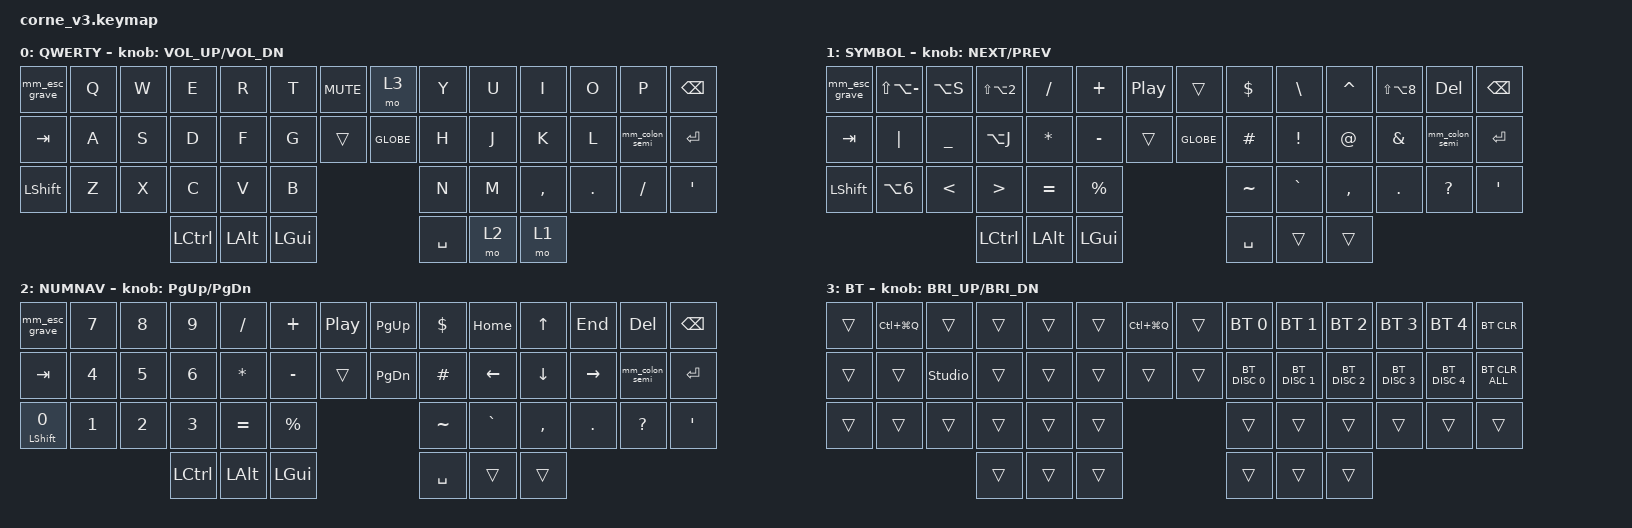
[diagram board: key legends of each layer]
/*
 * Copyright (c) 2020 The ZMK Contributors
 *
 * SPDX-License-Identifier: MIT
 *
 * corne_v3 -- transcribed from
 *   kb-corne/layouts/corne/corne_own_v06_v2.json
 *
 * What changed from corne_v2 (= corne_own_v05.json):
 *
 *   - SYM moved to the right thumb's outer key (pos 45), where `/` used to be.
 *     NNAV stays on pos 44. That frees the old SYM slot (pos 39) for a real key.
 *   - The bottom-right two keys become the standard US pairs: pos 38 `/` (shift
 *     `?`) and pos 39 `'` (shift `"`).
 *   - SYMBOL is substantially re-laid-out: an em dash takes pos 1, `\` moves to
 *     pos 9, DEL appears on pos 12, and @ ! & # $ move to the home row.
 *   - NUMNAV's left Shift becomes tap-0 / hold-Shift, and = % ~ ` fill the row.
 *   - The BSPC+SPACE lock combo is gone; LOCK is now a key (BT layer pos 1, and
 *     the knob press on BT).
 *   - Bracket combos now run on NUMNAV too; [ ] are suppressed on SYMBOL.
 *
 * THE TWO INNER COLUMNS (positions 6/20 on the left, 7/21 on the right).
 *
 *   The RIGHT column is exactly what v06_v2 draws:
 *       base    pos 7 BT (&mo 3)        pos 21 FN (Globe)
 *       SYMBOL  pos 7 transparent      pos 21 FN (Globe)
 *       NUMNAV  pos 7 PgUp             pos 21 PgDn
 *   Moving BT access to the base layer is what freed SYMBOL pos 7; that slot is
 *   simply transparent, so the base layer's BT (&mo 3) shows through and the
 *   bluetooth layer stays reachable from SYMBOL.
 *   Moving PgUp/PgDn onto the inner column is what frees NUMNAV pos 8/22 for
 *   $ and #.
 *
 *   The LEFT column is the media stack, and is the one place this keymap departs
 *   from v06_v2 -- the drawing puts ENC on pos 6 and `-` on pos 20 of every
 *   layer. Pos 6 IS the knob (see below), so its row is the knob's press:
 *       base    pos 6 Mute             pos 20 (empty)
 *       SYMBOL  pos 6 Play/Pause       pos 20 (empty)
 *       NUMNAV  pos 6 Play/Pause       pos 20 (empty)
 *       BT      pos 6 Lock             pos 20 (empty)
 *   Pos 20, the key under the knob, is deliberately empty on every layer for
 *   now (&trans all the way down, which on base means nothing at all).
 *   Note this leaves the base layer with no `-` key (v06_v2 wants one on pos 20);
 *   `-` lives on SYMBOL pos 19.
 *
 * ROTARY ENCODER: one knob, left_ex1, in the pos-6 footprint of the left half.
 *
 *                 press          turn right   turn left
 *       base      Mute           Vol+         Vol-
 *       SYMBOL    Play/Pause     Next         Prev
 *       NUMNAV    Play/Pause     PgUp         PgDn
 *       BT        Lock           Bri+         Bri-
 *
 *   Press: the knob's push switch takes pos 6's place in the matrix, so the press
 *   is pos 6's binding on the active layer.
 *
 *   Turn: each layer's sensor-bindings has ONE entry, because corne_v3_left.dts
 *   and corne_v3_right.dts cut the sensor list down to <&left_ex1_encoder>.
 *   `&inc_dec_kp A B` sends A on a right turn and B on a left turn. (ZMK calls
 *   A "clockwise"; the v3 board file swaps the knob's A/B pins so that ZMK's
 *   clockwise is a right turn -- an inference from Keebart's stock keymap, not
 *   yet tested on the knob. If it runs backwards, fix it there, once, rather
 *   than swapping every pair here.)
 *
 *   The knob is on the PERIPHERAL half (the right half is central on this board).
 *   ZMK v0.3 forwards peripheral encoder events over the split link, so that
 *   works, but the binding is resolved in the RIGHT half's firmware.
 *
 * Legend convention in the KLE: the upper glyph is the SHIFTED one, the lower is
 * unshifted. `:` over `;` on pos 26 is deliberately the inverse of a US board.
 *
 * Key positions (46). Positions 6/7 and 20/21 are the two inner columns that
 * only exist on the top two rows.
 *
 *    0  1  2  3  4  5  6      7  8  9 10 11 12 13
 *   14 15 16 17 18 19 20     21 22 23 24 25 26 27
 *   28 29 30 31 32 33           34 35 36 37 38 39
 *            40 41 42           43 44 45
 */

#include <behaviors.dtsi>
#include <dt-bindings/zmk/bt.h>
#include <dt-bindings/zmk/keys.h>

/ {
    chosen { zmk,physical-layout = &default_layout; };
};

/ {
    behaviors {
        // The KLE draws ";" above ":" on pos 26, the inverse of a US board, so
        // the unshifted tap is ":" and Shift gives ";".
        mm_colon_semi: mm_colon_semi {      // tap : , Shift ;
            compatible = "zmk,behavior-mod-morph";
            #binding-cells = <0>;
            bindings = <&kp COLON>, <&kp SEMI>;
            mods = <(MOD_LSFT|MOD_RSFT)>;
        };

        // ESC key: tap = Esc, Cmd+Esc -> Cmd+`  (mac window/tab cycling).
        // keep-mods keeps Cmd applied to the morphed `.
        mm_esc_grave: mm_esc_grave {
            compatible = "zmk,behavior-mod-morph";
            #binding-cells = <0>;
            bindings = <&kp ESC>, <&kp GRAVE>;
            mods = <(MOD_LGUI|MOD_RGUI)>;
            keep-mods = <(MOD_LGUI|MOD_RGUI)>;
        };

        // NUMNAV pos 28: tap = 0, hold = Shift. Not &mt, whose hold-preferred
        // flavor turns the key into Shift the moment any other key goes down --
        // on a number layer that makes "0" after a fast digit almost unreachable.
        //
        // "balanced" only commits to the hold if the other key is pressed AND
        // RELEASED while this one is still down. A roll (press 0, press 5,
        // release 0) therefore types 05, while a real Shift chord -- hold, tap
        // the arrow, release -- still resolves to Shift, so Shift+arrow
        // selection is unaffected.
        //
        // require-prior-idle-ms is the second guard: if any key was pressed
        // within 150ms before this one, it resolves to the tap immediately and
        // never waits. Mid-typing it is always 0; Shift needs the small pause
        // you take anyway before reaching for a chord. Same 150ms the bracket
        // combos use.
        ht_shift_0: ht_shift_0 {            // tap 0, hold Shift
            compatible = "zmk,behavior-hold-tap";
            #binding-cells = <2>;
            bindings = <&kp>, <&kp>;
            flavor = "balanced";
            tapping-term-ms = <200>;
            quick-tap-ms = <175>;
            require-prior-idle-ms = <150>;
        };
    };

    macros {
        // ë has no single Option chord, but it does NOT need Unicode Hex Input:
        // the U.S. layout has a DEAD KEY for the diaeresis at opt+u, which emits
        // nothing on its own and combines with the next vowel. So opt+u then e
        // gives ë on the plain U.S. layout. This is a normal two-keystroke macro,
        // not the hex-input macro that used to live here -- do not delete it on
        // the assumption that it is.
        //
        // Held Shift passes through the combo into the macro, so Shift gives Ë.
        // The 30ms spacing is to let the host settle the dead-key state between
        // the two taps; raise it if ë ever comes out as a bare "e".
        uml_e: uml_e {                      // opt+u (diaeresis dead key) then e
            compatible = "zmk,behavior-macro";
            #binding-cells = <0>;
            bindings = <&macro_tap &kp LA(U) &kp E>;
            wait-ms = <30>;
            tap-ms = <30>;
            label = "UML_E";
        };
    };

    combos {
        compatible = "zmk,combos";

        /*
         * BRACKETS -- left hand opens, right hand closes, one row per pair:
         *
         *     E+R  {        }  U+I        top row
         *     D+F  (        )  J+K        home row
         *     C+V  [        ]  M+,        bottom row
         *
         * These sit on middle+index pairs, which are the easiest rolls on the
         * board, so a 50ms window is not enough on its own -- "er" and "m," are
         * ordinary English sequences. require-prior-idle-ms is what makes them
         * safe: the combo is ignored if any non-modifier key was pressed within
         * 150ms before it, so a mid-word roll is blocked while a deliberate
         * bracket, reached after the small pause you take anyway, is not.
         *
         * Both conditions must hold -- 150ms of quiet BEFORE it and both keys
         * inside 50ms -- so fast typing fails the first, slow typing the second.
         *
         * All of them now run on NUMNAV as well as base and SYMBOL, except [ and
         * ], which are off on SYMBOL: positions 31/32 and 35/36 carry > = and ` ,
         * there, and bracketing those would fight the layer's own punctuation.
         *
         * NOTE the two NUMNAV adjacencies this creates: U+I is HOME+UP and J+K is
         * LEFT+DOWN. Continuous arrowing is protected by the idle guard, but a
         * deliberate pause followed by a fast two-arrow roll can still emit } or ).
         */
        combo_lbrc {
            timeout-ms = <50>;
            require-prior-idle-ms = <150>;
            key-positions = <4 3>;
            bindings = <&kp LBRC>;
            layers = <0 1 2>;
        };  // E+R -> {
        combo_rbrc {
            timeout-ms = <50>;
            require-prior-idle-ms = <150>;
            key-positions = <9 10>;
            bindings = <&kp RBRC>;
            layers = <0 1 2>;
        };  // U+I -> }
        combo_lpar {
            timeout-ms = <50>;
            require-prior-idle-ms = <150>;
            key-positions = <18 17>;
            bindings = <&kp LPAR>;
            layers = <0 1 2>;
        };  // D+F -> (
        combo_rpar {
            timeout-ms = <50>;
            require-prior-idle-ms = <150>;
            key-positions = <23 24>;
            bindings = <&kp RPAR>;
            layers = <0 1 2>;
        };  // J+K -> )
        combo_lbkt {
            timeout-ms = <50>;
            require-prior-idle-ms = <150>;
            key-positions = <32 31>;
            bindings = <&kp LBKT>;
            layers = <0 2>;
        };  // C+V -> [   (not on SYMBOL)
        combo_rbkt {
            timeout-ms = <50>;
            require-prior-idle-ms = <150>;
            key-positions = <35 36>;
            bindings = <&kp RBKT>;
            layers = <0 2>;
        };  // M+, -> ]   (not on SYMBOL)

        // T+G -> +-. On SYMBOL and NUMNAV positions 5 and 19 are + and -, so it
        // reads as "press + and - together". This is now the ONLY way to type +-,
        // since v06_v2 drops it as a key. Deliberately NO idle guard: T and G are
        // both the left index finger, so it cannot be rolled by accident, and
        // guarding it would only obstruct a deliberate +- typed after a digit.
        plusminus {
            timeout-ms = <50>;
            key-positions = <5 19>;
            bindings = <&kp LS(LA(EQUAL))>;
            layers = <0 1 2>;
        };  // T+G -> +-

        /*
         * ACCENTS -- one column left of the brackets, on the ring+middle pair,
         * and each combo contains its own base letter:
         *
         *     W+E  ë        S+D  ß        X+C  ç
         *
         * layers = <0> ONLY. These positions are 8/9, 5/6 and 2/3 on NUMNAV and
         * ß/€, _/∆ and </> on SYMBOL, where an accent would be nonsense.
         *
         * ç and ß are plain Option chords (opt+c, opt+s), so Shift gives Ç and
         * the opt+shift form respectively. ë goes through the &uml_e dead-key
         * macro. ß stays on its own SYMBOL key (pos 2) as well -- this is an
         * addition, not a move.
         *
         * Same 150ms idle guard as the brackets, and it matters most here: "we"
         * is a common bigram (in Dutch too) and "xc" shows up in except/exceed.
         * The guard blocks them mid-word. "xc" and "sd" never START a word, so
         * for those the guard is total cover -- after a pause the next keys are
         * word-initial, and no word begins "xc".
         *
         * "we" does, which is the one gap: a word-initial "we" typed fast after
         * a genuine pause (starting a sentence with "We") passes the idle guard,
         * because pause-then-roll is exactly the gesture a combo detects. So
         * combo_ediaer alone runs a tighter 30ms window: a deliberate chord on
         * the ring+middle pair (the least independent fingers, so the easiest to
         * press together) lands well inside 30ms, while a rolled "we" usually
         * does not. This narrows the overlap rather than removing it -- the two
         * gestures are not perfectly separable in time. If ë starts missing,
         * raise it to 35-40; if "We" still misfires, drop to 25.
         *
         * Note a tighter window costs nothing in latency: ZMK abandons the combo
         * sooner, so W and E are actually emitted marginally faster.
         */
        combo_ediaer {
            timeout-ms = <30>;      // tighter than the rest -- see above
            require-prior-idle-ms = <150>;
            key-positions = <2 3>;
            bindings = <&uml_e>;
            layers = <0>;
        };  // W+E -> ë
        combo_szlig {
            timeout-ms = <50>;
            require-prior-idle-ms = <150>;
            key-positions = <16 17>;
            bindings = <&kp LA(S)>;
            layers = <0>;
        };  // S+D -> ß
        combo_ccedil {
            timeout-ms = <50>;
            require-prior-idle-ms = <150>;
            key-positions = <30 31>;
            bindings = <&kp LA(C)>;
            layers = <0>;
        };  // X+C -> ç

        // The BSPC+SPACE lock combo from corne_v2 is deliberately gone -- LOCK is
        // a key now, on the BT layer (pos 1 and the knob press).
    };

    keymap {
        compatible = "zmk,keymap";

        // ------------------------------------------------------------------------------------------
        // | ESC | Q | W | E | R | T | MUTE | BT   | Y | U | I | O |  P  | BSPC |
        // | TAB | A | S | D | F | G |  --  | FN   | H | J | K | L | ;/: | RET  |
        // | SHFT| Z | X | C | V | B |             | N | M | ,/< | ./> | //? | '/" |
        //                 | CTRL | ALT | CMD |   | SPACE | NNAV | SYM |
        // SYM is now the outer right thumb (pos 45); NNAV stays on 44.
        // BT (pos 7) is the bluetooth layer's entrance, moved here from SYMBOL.
        default_layer {
            display-name = "QWERTY";
            bindings = <
&mm_esc_grave &kp Q &kp W &kp E     &kp R    &kp T    &kp C_MUTE &mo 3     &kp Y     &kp U &kp I     &kp O   &kp P          &kp BSPC
&kp TAB       &kp A &kp S &kp D     &kp F    &kp G    &trans     &kp GLOBE &kp H     &kp J &kp K     &kp L   &mm_colon_semi &kp RET
&kp LSHFT     &kp Z &kp X &kp C     &kp V    &kp B                         &kp N     &kp M &kp COMMA &kp DOT &kp FSLH       &kp SQT
                          &kp LCTRL &kp LALT &kp LGUI                      &kp SPACE &mo 2 &mo 1
            >;

            // knob (left_ex1): press = pos 6 Mute, turn right = Vol+, turn left = Vol-
            sensor-bindings = <&inc_dec_kp C_VOL_UP C_VOL_DN>;
        };

        // ------------------------------------------------------------------------------------------
        // | ESC |  —   | ß | € | / | + | PLAY | ▽ | $ | \/| | ^ | ° | DEL | BSPC |
        // | TAB | | | _ | ∆ | * | - |  --  | FN   | # | ! | @ | & | ;/: | RET  |
        // | SHFT| § | < | > | = | % |             | ~ | ` | ,/< | ./> |  ?  | '/" |
        //                 | CTRL | ALT | CMD |   | SPACE | ▽ | ▽ |
        // EVERY glyph on this layer is now a native Option chord on the U.S.
        // layout (— opt+shift+minus, € opt+shift+2, ° opt+shift+8, ß opt+s,
        // § opt+6, ∆ opt+j -- which is U+2206 INCREMENT, not U+0394). The -> macro that used to sit on pos 1
        // is gone: it typed U+2192 by holding Option and sending hex digits, which
        // only worked while macOS's "Unicode Hex Input" was the ACTIVE input
        // source -- and that input source takes over the whole Option layer, so it
        // broke every chord on this layer AND Option word-navigation. Dropping it
        // means this keymap no longer depends on the host input source at all.
        // `?` here is plain ?, not the /-with-shift key the base layer has. +- is
        // no longer a key at all; it is the T+G (= + and -) combo.
        //
        // Pos 1 is an EM DASH (opt+shift+minus; opt+minus would be the en dash).
        // It used to be LOCK, which now lives on the BT layer only.
        //
        // Pos 7 is &trans so the base layer's BT (&mo 3) shows through.
        symbol_layer {
            display-name = "SYMBOL";
            bindings = <
&mm_esc_grave &kp LS(LA(MINUS)) &kp LA(S) &kp LS(LA(N2)) &kp FSLH  &kp PLUS  &kp C_PP     &trans    &kp DLLR  &kp BSLH  &kp CARET &kp LS(LA(N8)) &kp DEL        &kp BSPC
&kp TAB       &kp PIPE      &kp UNDER &kp LA(J)      &kp ASTRK &kp MINUS &trans       &kp GLOBE &kp HASH  &kp EXCL  &kp AT    &kp AMPS       &mm_colon_semi &kp RET
&kp LSHFT     &kp LA(N6)    &kp LT    &kp GT         &kp EQUAL &kp PRCNT                        &kp TILDE &kp GRAVE &kp COMMA &kp DOT        &kp QMARK      &kp SQT
                                      &kp LCTRL      &kp LALT  &kp LGUI                         &kp SPACE &trans    &trans
            >;

            // knob (left_ex1): press = pos 6 Play/Pause, turn right = Next, turn left = Prev
            sensor-bindings = <&inc_dec_kp C_NEXT C_PREV>;
        };

        // ------------------------------------------------------------------------------------------
        // | ESC | 7 | 8 | 9 | / | + | PLAY | PGUP | $ | HOME | ↑ | END | DEL | BSPC |
        // | TAB | 4 | 5 | 6 | * | - |  --  | PGDN | # |  ←   | ↓ |  →  | ;/: | RET  |
        // | 0/SHFT | 1 | 2 | 3 | = | % |          | ~ | ` | ,/< | ./> |  ?  | '/" |
        //                 | CTRL | ALT | CMD |   | SPACE | ▽ | ▽ |
        // Pos 28 is tap-0 / hold-Shift (&ht_shift_0, balanced + 150ms idle guard
        // -- see the behavior for why), on this layer only; it is a plain Shift
        // everywhere else. PgUp/PgDn sit on the inner column, which is what lets
        // $ and # take 8 and 22.
        numnav_layer {
            display-name = "NUMNAV";
            bindings = <
&mm_esc_grave        &kp N7 &kp N8 &kp N9    &kp FSLH  &kp PLUS  &kp C_PP   &kp PG_UP &kp DLLR  &kp HOME  &kp UP    &kp END   &kp DEL        &kp BSPC
&kp TAB              &kp N4 &kp N5 &kp N6    &kp ASTRK &kp MINUS &trans     &kp PG_DN &kp HASH  &kp LEFT  &kp DOWN  &kp RIGHT &mm_colon_semi &kp RET
&ht_shift_0 LSHFT N0 &kp N1 &kp N2 &kp N3    &kp EQUAL &kp PRCNT                      &kp TILDE &kp GRAVE &kp COMMA &kp DOT   &kp QMARK      &kp SQT
                                   &kp LCTRL &kp LALT  &kp LGUI                       &kp SPACE &trans    &trans
            >;

            // knob (left_ex1): press = pos 6 Play/Pause, turn right = PgUp, turn left = PgDn
            sensor-bindings = <&inc_dec_kp PG_UP PG_DN>;
        };

        // Reached with &mo 3 from base pos 7.
        //
        // LOCK is on pos 1 (the Q key) and on the knob press (pos 6): Ctrl+Cmd+Q.
        // Plain Cmd+Q would QUIT the front app. Not C_SLEEP either: that is
        // Consumer usage 0x32, which ZMK's own code table marks untested on macOS
        // and which macOS does not act on. C_POWER does work but ignores anything
        // short of a deliberate press, so a plain modifier chord is the better key.
        //
        // Pos 16 (the S key) is STUDIO UNLOCK: hold BT, tap S. ZMK Studio starts
        // locked and will not edit the keymap until this is pressed. Studio runs
        // on the RIGHT half (the central), so connect that one. Anything saved
        // from Studio is stored on the keyboard and wins over this file after a
        // reflash, until Studio's "Restore Stock Settings".
        bluetooth {
            display-name = "BT";
            bindings = <
&trans &kp LC(LG(Q)) &trans         &trans &trans &trans &kp LC(LG(Q)) &trans &bt BT_SEL 0  &bt BT_SEL 1  &bt BT_SEL 2  &bt BT_SEL 3  &bt BT_SEL 4  &bt BT_CLR
&trans &trans        &studio_unlock &trans &trans &trans &trans        &trans &bt BT_DISC 0 &bt BT_DISC 1 &bt BT_DISC 2 &bt BT_DISC 3 &bt BT_DISC 4 &bt BT_CLR_ALL
&trans &trans &trans &trans &trans &trans               &trans        &trans        &trans        &trans        &trans        &trans
                     &trans &trans &trans               &trans        &trans        &trans
            >;

            // knob (left_ex1): press = pos 6 Lock, turn right = Bri+, turn left = Bri-
            sensor-bindings = <&inc_dec_kp C_BRI_UP C_BRI_DN>;
        };
    };
};
